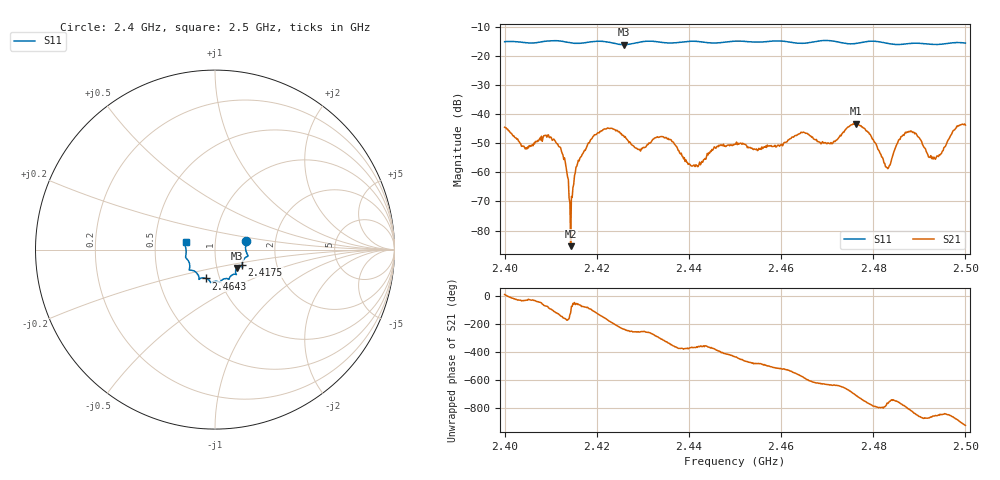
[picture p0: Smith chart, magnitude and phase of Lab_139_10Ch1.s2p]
# Hz S RI R 50
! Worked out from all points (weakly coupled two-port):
!   601 points, 2.4 GHz to 2.5 GHz, reference 50 ohm
!   highest |S21| = -43.15 dB at 2.4762 GHz (marker M1); lowest = -85.4 dB at 2.4143 GHz (marker M2)
!   lowest |S11| = -15.9 dB at 2.4258 GHz (marker M3), VSWR 1.38, Z = 62.4 - j13.2 ohm
!   |S11| at or under -10 dB: start of sweep to end of sweep
!   S12 and S22 are empty: the file has one direction only
!   S11 on the Smith chart (normalised r, x): 2.4 GHz: 1.41, +0.14; 2.4175 GHz: 1.33, -0.23; 2.4643 GHz: 0.86, -0.28; 2.5 GHz: 0.72, +0.06
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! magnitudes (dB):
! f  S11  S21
! 2.4 GHz  -14.9  -44.4
! 2.4043 GHz  -15.2  -51.4
! 2.411 GHz  -14.6  -49.2
! 2.413 GHz  -14.9  -55.0
! 2.4143 GHz  -15.3  -85.4
! 2.4167 GHz  -15.4  -54.4
! 2.4175 GHz  -15.2  -52.4
! 2.4218 GHz  -14.9  -45.0
! 2.4258 GHz  -15.9  -47.3
! 2.4293 GHz  -15.0  -52.2
! 2.4333 GHz  -15.0  -47.9
! 2.4408 GHz  -14.7  -57.8
! 2.45 GHz  -14.7  -50.3
! 2.4552 GHz  -15.1  -51.7
! 2.4643 GHz  -15.5  -46.1
! 2.4667 GHz  -15.1  -47.9
! 2.4708 GHz  -14.6  -49.7
! 2.4762 GHz  -15.5  -43.1
! 2.4833 GHz  -15.6  -58.3
! 2.4873 GHz  -15.6  -46.0
! 2.4932 GHz  -15.9  -54.7
! 2.5 GHz  -15.4  -43.7
